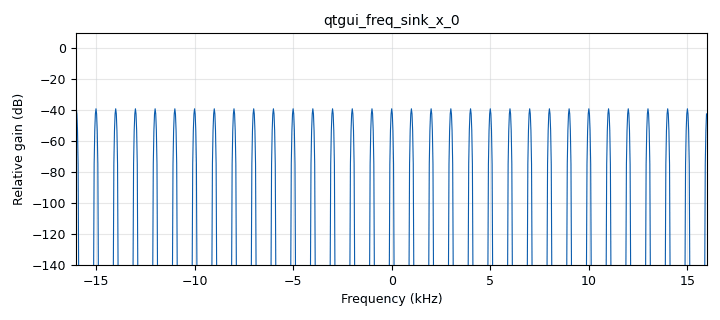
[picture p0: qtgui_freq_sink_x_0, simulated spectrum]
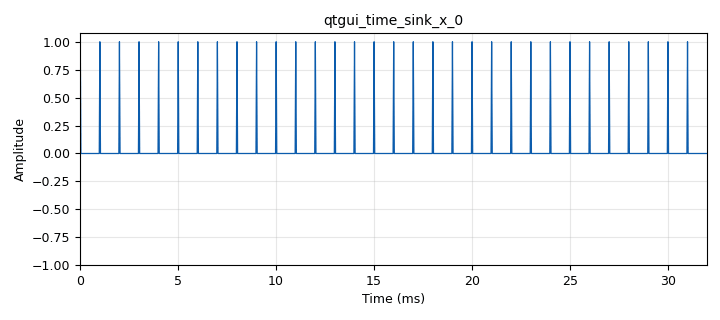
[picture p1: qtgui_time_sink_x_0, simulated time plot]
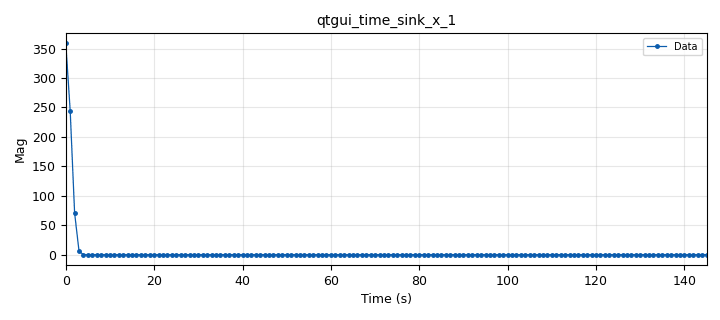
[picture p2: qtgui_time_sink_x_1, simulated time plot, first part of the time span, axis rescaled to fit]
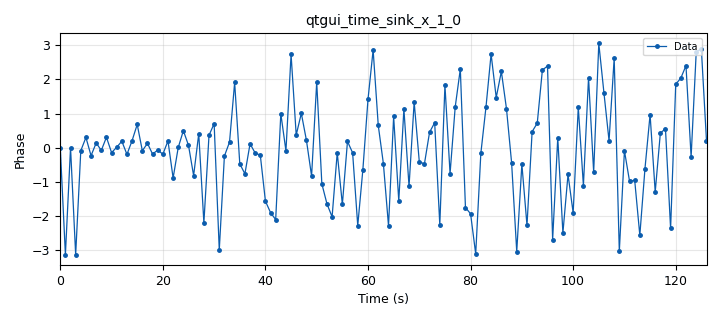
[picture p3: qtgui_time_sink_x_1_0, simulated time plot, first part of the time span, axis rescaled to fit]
<?xml version='1.0' encoding='utf-8'?>
<?grc format='1' created='3.7.9'?>
<flow_graph>
<block>
<key>options</key>
<param><key>id</key><value>SimForSignal</value></param>
<param><key>category</key><value>Custom</value></param>
<param><key>generate_options</key><value>qt_gui</value></param>
</block>
<block>
<key>variable_qtgui_range</key>
<param><key>id</key><value>FFTNum</value></param>
<param><key>value</key><value>1</value></param>
<param><key>label</key><value>Number for FFT</value></param>
<param><key>orient</key><value>Qt.Horizontal</value></param>
<param><key>start</key><value>1</value></param>
<param><key>step</key><value>1</value></param>
<param><key>stop</key><value>64</value></param>
<param><key>rangeType</key><value>int</value></param>
</block>
<block>
<key>variable_qtgui_range</key>
<param><key>id</key><value>delay</value></param>
<param><key>value</key><value>0</value></param>
<param><key>label</key><value>delay sample</value></param>
<param><key>orient</key><value>Qt.Horizontal</value></param>
<param><key>start</key><value>0</value></param>
<param><key>step</key><value>1</value></param>
<param><key>stop</key><value>100</value></param>
<param><key>rangeType</key><value>int</value></param>
</block>
<block>
<key>variable</key>
<param><key>id</key><value>rev_freq</value></param>
<param><key>value</key><value>1000</value></param>
</block>
<block>
<key>variable</key>
<param><key>id</key><value>samp_rate</value></param>
<param><key>value</key><value>32000</value></param>
</block>
<block>
<key>analog_sig_source_x</key>
<param><key>id</key><value>analog_sig_source_x_0</value></param>
<param><key>amp</key><value>1</value></param>
<param><key>freq</key><value>rev_freq/2</value></param>
<param><key>offset</key><value>0</value></param>
<param><key>type</key><value>float</value></param>
<param><key>samp_rate</key><value>samp_rate</value></param>
<param><key>waveform</key><value>analog.GR_SQR_WAVE</value></param>
</block>
<block>
<key>analog_sig_source_x</key>
<param><key>id</key><value>analog_sig_source_x_1</value></param>
<param><key>amp</key><value>-1</value></param>
<param><key>freq</key><value>rev_freq/2</value></param>
<param><key>offset</key><value>0</value></param>
<param><key>type</key><value>float</value></param>
<param><key>samp_rate</key><value>samp_rate</value></param>
<param><key>waveform</key><value>analog.GR_SQR_WAVE</value></param>
</block>
<block>
<key>blocks_abs_xx</key>
<param><key>id</key><value>blocks_abs_xx_0</value></param>
<param><key>type</key><value>float</value></param>
</block>
<block>
<key>blocks_add_xx</key>
<param><key>id</key><value>blocks_add_xx_0</value></param>
<param><key>type</key><value>float</value></param>
</block>
<block>
<key>blocks_complex_to_arg</key>
<param><key>id</key><value>blocks_complex_to_arg_0</value></param>
</block>
<block>
<key>blocks_complex_to_mag</key>
<param><key>id</key><value>blocks_complex_to_mag_0</value></param>
</block>
<block>
<key>blocks_delay</key>
<param><key>id</key><value>blocks_delay_0</value></param>
<param><key>delay</key><value>1</value></param>
<param><key>type</key><value>float</value></param>
</block>
<block>
<key>blocks_delay</key>
<param><key>id</key><value>blocks_delay_1</value></param>
<param><key>delay</key><value>delay</value></param>
<param><key>type</key><value>float</value></param>
</block>
<block>
<key>blocks_stream_to_vector</key>
<param><key>id</key><value>blocks_stream_to_vector_0</value></param>
<param><key>type</key><value>float</value></param>
<param><key>num_items</key><value>samp_rate*FFTNum</value></param>
</block>
<block>
<key>blocks_throttle</key>
<param><key>id</key><value>blocks_throttle_0</value></param>
<param><key>samples_per_second</key><value>samp_rate</value></param>
<param><key>type</key><value>float</value></param>
</block>
<block>
<key>blocks_vector_to_stream</key>
<param><key>id</key><value>blocks_vector_to_stream_0</value></param>
<param><key>type</key><value>complex</value></param>
<param><key>num_items</key><value>samp_rate*FFTNum</value></param>
</block>
<block>
<key>fft_vxx</key>
<param><key>id</key><value>fft_vxx_0</value></param>
<param><key>fft_size</key><value>samp_rate*FFTNum</value></param>
<param><key>forward</key><value>True</value></param>
<param><key>type</key><value>float</value></param>
<param><key>shift</key><value>True</value></param>
<param><key>window</key><value>window.blackmanharris(samp_rate*FFTNum)</value></param>
</block>
<block>
<key>qtgui_freq_sink_x</key>
<param><key>id</key><value>qtgui_freq_sink_x_0</value></param>
<param><key>bw</key><value>samp_rate</value></param>
<param><key>fc</key><value>0</value></param>
<param><key>fftsize</key><value>1024</value></param>
<param><key>gui_hint</key><value>tab@0</value></param>
<param><key>showports</key><value>True</value></param>
<param><key>type</key><value>float</value></param>
<param><key>wintype</key><value>firdes.WIN_BLACKMAN_hARRIS</value></param>
</block>
<block>
<key>qtgui_time_sink_x</key>
<param><key>id</key><value>qtgui_time_sink_x_0</value></param>
<param><key>gui_hint</key><value>tab@0</value></param>
<param><key>color1</key><value>"blue"</value></param>
<param><key>label1</key><value></value></param>
<param><key>size</key><value>1024</value></param>
<param><key>srate</key><value>samp_rate</value></param>
<param><key>type</key><value>float</value></param>
</block>
<block>
<key>qtgui_time_sink_x</key>
<param><key>id</key><value>qtgui_time_sink_x_1</value></param>
<param><key>alias</key><value>Frequency</value></param>
<param><key>gui_hint</key><value>tab@1</value></param>
<param><key>grid</key><value>True</value></param>
<param><key>color1</key><value>"dark red"</value></param>
<param><key>label1</key><value>Data</value></param>
<param><key>marker1</key><value>0</value></param>
<param><key>size</key><value>samp_rate*FFTNum</value></param>
<param><key>srate</key><value>FFTNum</value></param>
<param><key>type</key><value>float</value></param>
<param><key>update_time</key><value>0.01</value></param>
<param><key>ylabel</key><value>Mag</value></param>
</block>
<block>
<key>qtgui_time_sink_x</key>
<param><key>id</key><value>qtgui_time_sink_x_1_0</value></param>
<param><key>gui_hint</key><value>tab@1</value></param>
<param><key>color1</key><value>"dark green"</value></param>
<param><key>label1</key><value>Data</value></param>
<param><key>marker1</key><value>0</value></param>
<param><key>size</key><value>samp_rate*FFTNum</value></param>
<param><key>srate</key><value>FFTNum</value></param>
<param><key>type</key><value>float</value></param>
<param><key>ylabel</key><value>Phase</value></param>
</block>
<block>
<key>qtgui_tab_widget</key>
<param><key>id</key><value>tab</value></param>
<param><key>label0</key><value>Time/Freq</value></param>
<param><key>label1</key><value>Meg/Phas</value></param>
<param><key>num_tabs</key><value>2</value></param>
</block>
<connection><source_block_id>analog_sig_source_x_0</source_block_id><sink_block_id>blocks_add_xx_0</sink_block_id><source_key>0</source_key><sink_key>0</sink_key></connection>
<connection><source_block_id>analog_sig_source_x_1</source_block_id><sink_block_id>blocks_delay_0</sink_block_id><source_key>0</source_key><sink_key>0</sink_key></connection>
<connection><source_block_id>blocks_abs_xx_0</source_block_id><sink_block_id>blocks_delay_1</sink_block_id><source_key>0</source_key><sink_key>0</sink_key></connection>
<connection><source_block_id>blocks_add_xx_0</source_block_id><sink_block_id>blocks_abs_xx_0</sink_block_id><source_key>0</source_key><sink_key>0</sink_key></connection>
<connection><source_block_id>blocks_complex_to_arg_0</source_block_id><sink_block_id>qtgui_time_sink_x_1_0</sink_block_id><source_key>0</source_key><sink_key>0</sink_key></connection>
<connection><source_block_id>blocks_complex_to_mag_0</source_block_id><sink_block_id>qtgui_time_sink_x_1</sink_block_id><source_key>0</source_key><sink_key>0</sink_key></connection>
<connection><source_block_id>blocks_delay_0</source_block_id><sink_block_id>blocks_add_xx_0</sink_block_id><source_key>0</source_key><sink_key>1</sink_key></connection>
<connection><source_block_id>blocks_delay_1</source_block_id><sink_block_id>blocks_throttle_0</sink_block_id><source_key>0</source_key><sink_key>0</sink_key></connection>
<connection><source_block_id>blocks_stream_to_vector_0</source_block_id><sink_block_id>fft_vxx_0</sink_block_id><source_key>0</source_key><sink_key>0</sink_key></connection>
<connection><source_block_id>blocks_throttle_0</source_block_id><sink_block_id>blocks_stream_to_vector_0</sink_block_id><source_key>0</source_key><sink_key>0</sink_key></connection>
<connection><source_block_id>blocks_throttle_0</source_block_id><sink_block_id>qtgui_freq_sink_x_0</sink_block_id><source_key>0</source_key><sink_key>0</sink_key></connection>
<connection><source_block_id>blocks_throttle_0</source_block_id><sink_block_id>qtgui_time_sink_x_0</sink_block_id><source_key>0</source_key><sink_key>0</sink_key></connection>
<connection><source_block_id>blocks_vector_to_stream_0</source_block_id><sink_block_id>blocks_complex_to_arg_0</sink_block_id><source_key>0</source_key><sink_key>0</sink_key></connection>
<connection><source_block_id>blocks_vector_to_stream_0</source_block_id><sink_block_id>blocks_complex_to_mag_0</sink_block_id><source_key>0</source_key><sink_key>0</sink_key></connection>
<connection><source_block_id>fft_vxx_0</source_block_id><sink_block_id>blocks_vector_to_stream_0</sink_block_id><source_key>0</source_key><sink_key>0</sink_key></connection>
</flow_graph>
